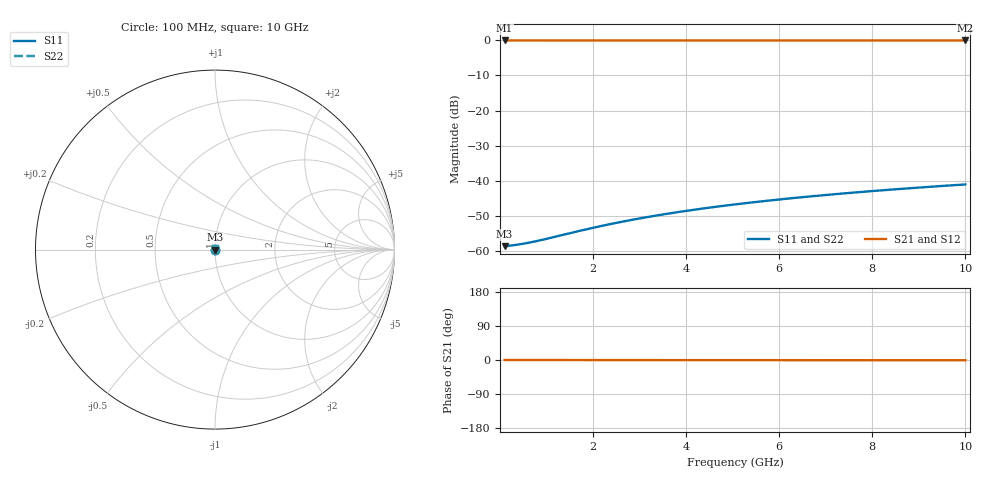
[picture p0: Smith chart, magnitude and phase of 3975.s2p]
# Hz S RI R 50.00
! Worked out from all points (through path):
!   100 points, 100 MHz to 10 GHz, reference 50 ohm
!   highest |S21| = -0.01 dB at 100 MHz (marker M1); lowest = 0.0 dB at 10 GHz (marker M2)
!   lowest |S11| = -58.7 dB at 100 MHz (marker M3), VSWR 1.00, Z = 50.1 + j0.00876 ohm
!   |S11| at or under -10 dB: start of sweep to end of sweep
!   |S22| runs from -58.7 to -41.1 dB; largest |S21 - S12| = 0
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1e8  0.00116 8.74e-05  0.9988 -0.000117  0.9988 -0.000117  0.00116 8.74e-05
3e8  0.00118 0.000262  0.9988 -0.000352  0.9988 -0.000352  0.00118 0.000262
4e8  0.00118 0.00035  0.9988 -0.00047  0.9988 -0.00047  0.00118 0.00035
5e8  0.00118 0.000437  0.9988 -0.000587  0.9988 -0.000587  0.00118 0.000437
7e8  0.00119 0.000612  0.9988 -0.000822  0.9988 -0.000822  0.00119 0.000612
1e9  0.0012 0.000874  0.9988 -0.00117  0.9988 -0.00117  0.0012 0.000874
1.8e9  0.00122 0.00157  0.9988 -0.00211  0.9988 -0.00211  0.00122 0.00157
2.2e9  0.00122 0.00192  0.9988 -0.00258  0.9988 -0.00258  0.00122 0.00192
2.6e9  0.00123 0.00227  0.9988 -0.00305  0.9988 -0.00305  0.00123 0.00227
3e9  0.00124 0.00262  0.9988 -0.00352  0.9988 -0.00352  0.00124 0.00262
3.4e9  0.00124 0.00297  0.9988 -0.00399  0.9988 -0.00399  0.00124 0.00297
3.8e9  0.00125 0.00332  0.9987 -0.00446  0.9987 -0.00446  0.00125 0.00332
4.2e9  0.00126 0.00367  0.9987 -0.00493  0.9987 -0.00493  0.00126 0.00367
4.6e9  0.00126 0.00402  0.9987 -0.0054  0.9987 -0.0054  0.00126 0.00402
5.1e9  0.00127 0.00446  0.9987 -0.00599  0.9987 -0.00599  0.00127 0.00446
5.5e9  0.00128 0.00481  0.9987 -0.00646  0.9987 -0.00646  0.00128 0.00481
5.9e9  0.00129 0.00516  0.9987 -0.00693  0.9987 -0.00693  0.00129 0.00516
6.7e9  0.0013 0.00585  0.9987 -0.00787  0.9987 -0.00787  0.0013 0.00585
7.5e9  0.00132 0.00655  0.9987 -0.00881  0.9987 -0.00881  0.00132 0.00655
8.4e9  0.00134 0.00734  0.9987 -0.00987  0.9987 -0.00987  0.00134 0.00734
9.2e9  0.00136 0.00804  0.9986 -0.0108  0.9986 -0.0108  0.00136 0.00804
1e10  0.00138 0.00874  0.9986 -0.0118  0.9986 -0.0118  0.00138 0.00874
